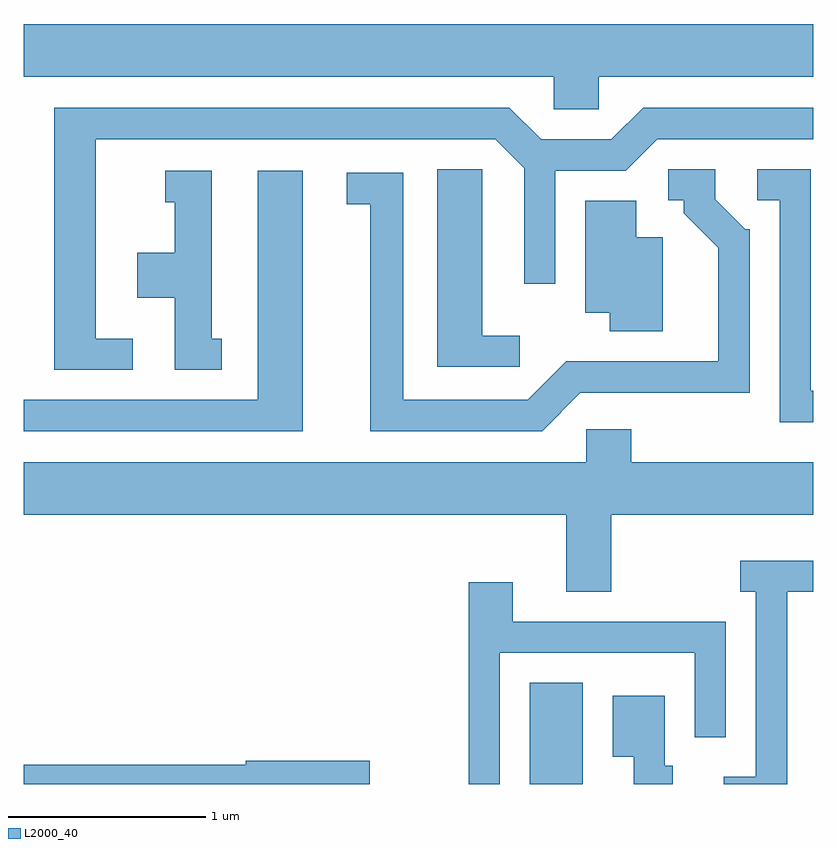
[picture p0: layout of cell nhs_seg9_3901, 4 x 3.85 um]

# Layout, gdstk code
import gdstk
lib = gdstk.Library(unit=1e-6, precision=1e-09)
def R(c, l, rs):  # rectangles x0, y0, x1, y1
    for r in rs: c.add(gdstk.rectangle(r[:2], r[2:], *l))
def P(c, l, *ps):  # polygons
    for p in ps: c.add(gdstk.Polygon(p, *l))
L2000_40 = (2000, 40)

nhs_seg9_3901 = lib.new_cell('nhs_seg9_3901')
R(nhs_seg9_3901, L2000_40, [(302.176,2010.432,302.444,2010.944)])
P(nhs_seg9_3901, L2000_40, [(302.524,2014.016),(303.611,2014.016),(303.611,2014.284),(299.611,2014.284),(299.611,2014.016),(302.296,2014.016),(302.296,2013.851),(302.524,2013.851)],
  [(300.163,2012.689),(299.974,2012.689),(299.974,2013.701),(301.999,2013.701),(302.146,2013.554),(302.146,2012.968),(302.304,2012.968),(302.304,2013.541),(302.662,2013.541),(302.822,2013.701),(303.611,2013.701),(303.611,2013.859),(302.749,2013.859),(302.589,2013.699),(302.232,2013.699),(302.072,2013.859),(299.766,2013.859),(299.766,2012.531),(300.163,2012.531)],
  [(302.123,2012.704),(301.934,2012.704),(301.934,2013.549),(301.706,2013.549),(301.706,2012.546),(302.123,2012.546)],
  [(303.611,2012.424),(303.599,2012.424),(303.599,2013.549),(303.328,2013.549),(303.328,2013.391),(303.441,2013.391),(303.441,2012.266),(303.611,2012.266)],
  [(302.432,2012.416),(303.289,2012.416),(303.289,2013.244),(303.267,2013.244),(303.114,2013.397),(303.114,2013.549),(302.878,2013.549),(302.878,2013.391),(302.956,2013.391),(302.956,2013.324),(303.131,2013.149),(303.131,2012.574),(302.359,2012.574),(302.164,2012.379),(301.534,2012.379),(301.534,2013.529),(301.248,2013.529),(301.248,2013.371),(301.366,2013.371),(301.366,2012.221),(302.237,2012.221)],
  [(300.613,2012.689),(300.564,2012.689),(300.564,2013.539),(300.328,2013.539),(300.328,2013.381),(300.376,2013.381),(300.376,2013.124),(300.186,2013.124),(300.186,2012.896),(300.376,2012.896),(300.376,2012.531),(300.613,2012.531)],
  [(301.024,2013.539),(300.796,2013.539),(300.796,2012.379),(299.611,2012.379),(299.611,2012.221),(301.024,2012.221)],
  [(302.849,2013.204),(302.714,2013.204),(302.714,2013.389),(302.456,2013.389),(302.456,2012.821),(302.581,2012.821),(302.581,2012.726),(302.849,2012.726)],
  [(302.589,2011.796),(303.611,2011.796),(303.611,2012.064),(302.689,2012.064),(302.689,2012.229),(302.461,2012.229),(302.461,2012.064),(299.611,2012.064),(299.611,2011.796),(302.361,2011.796),(302.361,2011.406),(302.589,2011.406)],
  [(303.479,2011.406),(303.611,2011.406),(303.611,2011.564),(303.243,2011.564),(303.243,2011.406),(303.321,2011.406),(303.321,2010.469),(303.158,2010.469),(303.158,2010.432),(303.479,2010.432)],
  [(302.024,2011.096),(303.011,2011.096),(303.011,2010.668),(303.169,2010.668),(303.169,2011.254),(302.089,2011.254),(302.089,2011.454),(301.866,2011.454),(301.866,2010.432),(302.024,2010.432)],
  [(302.899,2010.524),(302.859,2010.524),(302.859,2010.879),(302.596,2010.879),(302.596,2010.571),(302.701,2010.571),(302.701,2010.432),(302.899,2010.432)],
  [(301.364,2010.549),(300.736,2010.549),(300.736,2010.529),(299.611,2010.529),(299.611,2010.432),(301.364,2010.432)])

lib.write_gds('nhs_seg9_3901.gds')
